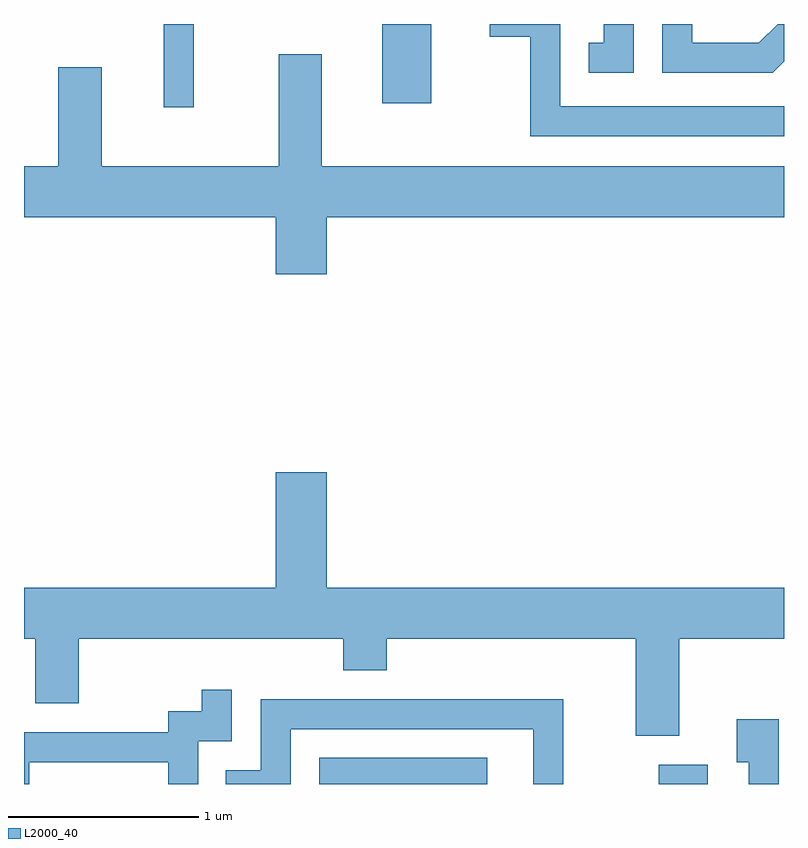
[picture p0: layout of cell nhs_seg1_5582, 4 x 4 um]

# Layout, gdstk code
import gdstk
lib = gdstk.Library(unit=1e-6, precision=1e-09)
def R(c, l, rs):  # rectangles x0, y0, x1, y1
    for r in rs: c.add(gdstk.rectangle(r[:2], r[2:], *l))
def P(c, l, *ps):  # polygons
    for p in ps: c.add(gdstk.Polygon(p, *l))
L2000_40 = (2000, 40)

nhs_seg1_5582 = lib.new_cell('nhs_seg1_5582')
R(nhs_seg1_5582, L2000_40, [(355.166,887.712,356.048,887.849), (356.951,887.712,357.209,887.814), (354.346,891.273,354.504,891.712), (355.496,891.296,355.754,891.712)])
P(nhs_seg1_5582, L2000_40, [(356.819,891.712),(356.661,891.712),(356.661,891.614),(356.583,891.614),(356.583,891.456),(356.819,891.456)],
  [(357.611,891.279),(356.434,891.279),(356.434,891.712),(356.061,891.712),(356.061,891.646),(356.276,891.646),(356.276,891.121),(357.611,891.121)],
  [(357.611,891.515),(357.611,891.712),(357.577,891.712),(357.479,891.614),(357.129,891.614),(357.129,891.712),(356.971,891.712),(356.971,891.456),(357.552,891.456)],
  [(355.204,890.696),(357.611,890.696),(357.611,890.964),(355.179,890.964),(355.179,891.554),(354.951,891.554),(354.951,890.964),(354.019,890.964),(354.019,891.484),(353.791,891.484),(353.791,890.964),(353.611,890.964),(353.611,890.696),(354.936,890.696),(354.936,890.396),(355.204,890.396)],
  [(357.059,888.476),(357.611,888.476),(357.611,888.744),(355.204,888.744),(355.204,889.354),(354.936,889.354),(354.936,888.744),(353.611,888.744),(353.611,888.476),(353.671,888.476),(353.671,888.136),(353.899,888.136),(353.899,888.476),(355.291,888.476),(355.291,888.311),(355.519,888.311),(355.519,888.476),(356.831,888.476),(356.831,887.966),(357.059,887.966)],
  [(353.639,887.826),(354.371,887.826),(354.371,887.712),(354.529,887.712),(354.529,887.936),(354.704,887.936),(354.704,888.208),(354.546,888.208),(354.546,888.094),(354.371,888.094),(354.371,887.984),(353.611,887.984),(353.611,887.712),(353.639,887.712)],
  [(355.014,888.001),(356.291,888.001),(356.291,887.712),(356.449,887.712),(356.449,888.159),(354.856,888.159),(354.856,887.784),(354.673,887.784),(354.673,887.712),(355.014,887.712)],
  [(357.584,888.054),(357.361,888.054),(357.361,887.826),(357.426,887.826),(357.426,887.712),(357.584,887.712)])

lib.write_gds('nhs_seg1_5582.gds')
